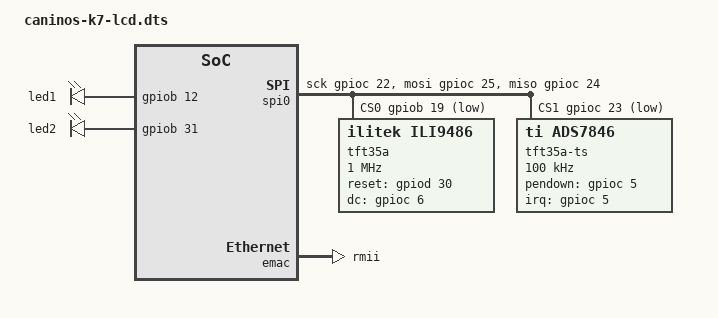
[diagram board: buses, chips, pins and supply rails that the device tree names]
// SPDX-License-Identifier: (GPL-2.0+ OR MIT)

/dts-v1/;
#include "caninos-k7.dtsi"

/ {
	chosen {
		stdout-path = "serial3:115200n8";
	};
	
	psci {
		compatible = "arm,psci-0.2";
		method = "smc";
	};
	
	cpus {
		cpu@0 {
			enable-method = "psci";
		};
		cpu@1 {
			enable-method = "psci";
		};
		cpu@2 {
			enable-method = "psci";
		};
		cpu@3 {
			enable-method = "psci";
		};
	};


	soc {
		
		leds {
			compatible = "gpio-leds";
			
			led@1 {
				label = "led1"; //LVDS_RXOC_P - GPIOB12
				gpios = <&gpiob 12 GPIO_ACTIVE_HIGH>;
				linux,default-trigger = "default-on";
				default-state = "ON";
			};
			
			led@2 {
				label = "led2"; //LCD0_D17 - GPIOB31
				gpios = <&gpiob 31 GPIO_ACTIVE_HIGH>;
				linux,default-trigger = "heartbeat";
				default-state = "ON";
			};
		};
	};

	spi0: spi-gpio {
		compatible = "spi-gpio";
		#address-cells = <1>;
		#size-cells = <0>;
		
		gpio-mosi = <&gpioc 25 GPIO_ACTIVE_HIGH>;
		gpio-sck = <&gpioc 22 GPIO_ACTIVE_HIGH>;
		gpio-miso = <&gpioc 24 GPIO_ACTIVE_HIGH>;
		cs-gpios = <&gpiob 19 GPIO_ACTIVE_LOW>, <&gpioc 23 GPIO_ACTIVE_LOW>;
		num-chipselects = <2>;
		status = "okay";
		
		tft35a@0 {
			compatible = "ilitek,ili9486";
			reg = <0>;
			spi-max-frequency = <1000000>;
			txbuflen = <0x8000>;
			rotate = <0x5a>;
			bgr = <0x00>;
			fps = <0x1e>;
			buswidth = <0x08>;
			regwidth = <0x10>;
			reset-gpios = <&gpiod 30 GPIO_ACTIVE_HIGH>;
			dc-gpios = <&gpioc 6 GPIO_ACTIVE_HIGH>; 
			debug = <0>;
			init = <0x10000b0 0x00 0x1000011 0x20000ff 0x100003a
				0x55 0x1000036 0x28 0x10000c2 0x44
				0x10000c5 0x00 0x00 0x00 0x00
				0x10000e0 0x0f 0x1f 0x1c 0x0c
				0x0f 0x08 0x48 0x98 0x37 
				0x0a 0x13 0x04 0x11 0x0d
				0x00 0x10000e1 0x0f 0x32 0x2e 
				0x0b 0x0d 0x05 0x47 0x75 
				0x37 0x06 0x10 0x03 0x24 
				0x20 0x00 0x10000e2 0x0f 0x32 
				0x2e 0x0b 0x0d 0x05 0x47
				0x75 0x37 0x06 0x10 0x03 
				0x24 0x20 0x00 0x1000036 
				0x28 0x1000011 0x1000029>;
			};

		tft35a-ts@1 {
			compatible = "ti,ads7846";
			reg = <1>;
			spi-max-frequency = <100000>;
			interrupt-parent = <&gpioc>;
			interrupts = <5 IRQ_TYPE_EDGE_FALLING>;
			pendown-gpio = <&gpioc 5 GPIO_ACTIVE_HIGH>;
			ti,x-plate-ohms = [00 3c];
			ti,pressure-max = [00 ff];
		};
	};
};

&emac {
	pinctrl-names = "default";
	pinctrl-0 = <&eth_state_rmii>;
	phy-mode = "rmii";
	max-speed = <100>;

	phy-power-gpio = <&gpiob 11 GPIO_ACTIVE_HIGH>;
	phy-reset-gpio = <&gpiod 31 GPIO_ACTIVE_HIGH>; 
};

&mmc1 {
	enable-gpios = <&gpiob 30 GPIO_ACTIVE_HIGH>, 
				   <&gpioc 3  GPIO_ACTIVE_HIGH>;
};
